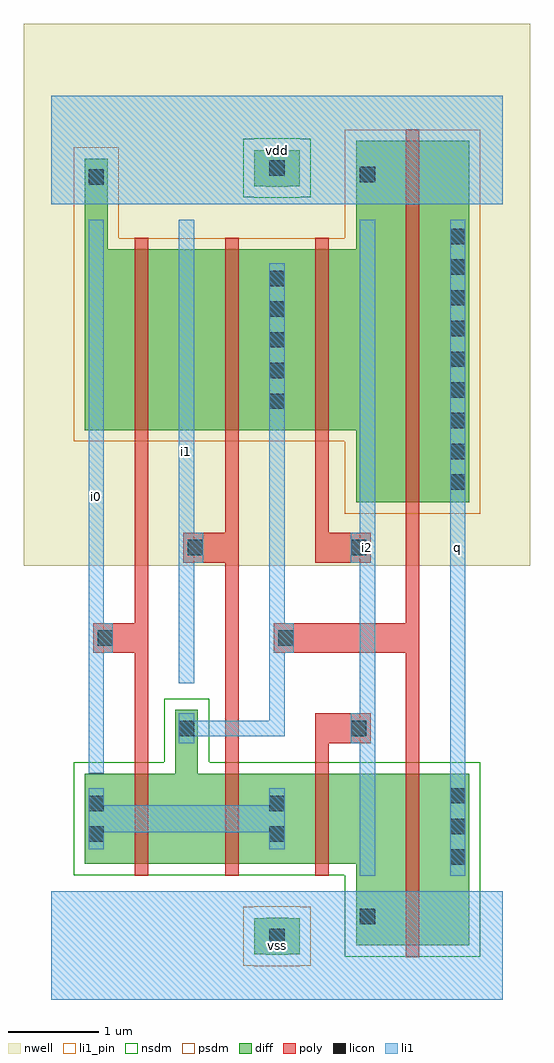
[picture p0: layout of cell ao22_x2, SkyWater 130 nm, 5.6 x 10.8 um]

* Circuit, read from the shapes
.subckt ao22_x2 i0 i1 i2 q vdd vss
XM1 n1 i0 n2 VSUBS sky130_fd_pr__nfet_01v8 w=1 l=0.15
XM2 n2 i1 n1 VSUBS sky130_fd_pr__nfet_01v8 w=1 l=0.15
XM3 vss i2 n2 VSUBS sky130_fd_pr__nfet_01v8 w=1 l=0.15
XM4 q n1 vss VSUBS sky130_fd_pr__nfet_01v8 w=1.9 l=0.15
XM5 n3 i0 vdd n4 sky130_fd_pr__pfet_01v8 w=2 l=0.15
XM6 n1 i1 n3 n4 sky130_fd_pr__pfet_01v8 w=2 l=0.15
XM7 vdd i2 n1 n4 sky130_fd_pr__pfet_01v8 w=2 l=0.15
XM8 q n1 vdd n4 sky130_fd_pr__pfet_01v8 w=4 l=0.15
.ends

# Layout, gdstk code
import gdstk
lib = gdstk.Library(unit=1e-6, precision=1e-09)
def R(c, l, rs):  # rectangles x0, y0, x1, y1
    for r in rs: c.add(gdstk.rectangle(r[:2], r[2:], *l))
def A(c, l, x, y, w, h, nx, ny, dx, dy):  # array of equal rectangles
    R(c, l, [(x+i*dx, y+j*dy, x+i*dx+w, y+j*dy+h) for i in range(nx) for j in range(ny)])
def P(c, l, *ps):  # polygons
    for p in ps: c.add(gdstk.Polygon(p, *l))
nwell = (64, 20)
diff = (65, 20)
poly = (66, 20)
licon = (66, 44)
li1_pin = (67, 16)
li1 = (67, 20)
nsdm = (93, 44)
psdm = (94, 20)

ao22_x2 = lib.new_cell('ao22_x2')
R(ao22_x2, nwell, [(-0.3,4.8,5.3,10.8)])
P(ao22_x2, diff, [(2.375,0.495),(2.375,0.5),(2.25,0.5),(2.25,0.9),(2.375,0.9),(2.375,0.905),(2.625,0.905),(2.625,0.9),(2.75,0.9),(2.75,0.5),(2.625,0.5),(2.625,0.495)],
  [(3.375,0.6),(3.375,1.5),(0.375,1.5),(0.375,2.5),(1.375,2.5),(1.375,3.205),(1.625,3.205),(1.625,2.5),(4.625,2.5),(4.625,0.6)],
  [(2.375,8.995),(2.375,9),(2.25,9),(2.25,9.4),(2.375,9.4),(2.375,9.405),(2.625,9.405),(2.625,9.4),(2.75,9.4),(2.75,9),(2.625,9),(2.625,8.995)],
  [(3.375,5.5),(3.375,6.3),(0.375,6.3),(0.375,9.305),(0.625,9.305),(0.625,8.3),(3.375,8.3),(3.375,9.5),(4.625,9.5),(4.625,5.5)])
P(ao22_x2, poly, [(2.925,1.37),(2.925,3.165),(3.535,3.165),(3.535,2.835),(3.075,2.835),(3.075,1.37)],
  [(0.925,1.37),(0.925,3.835),(0.465,3.835),(0.465,4.165),(0.925,4.165),(0.925,8.43),(1.075,8.43),(1.075,1.37)],
  [(1.925,1.37),(1.925,4.835),(1.465,4.835),(1.465,5.165),(1.925,5.165),(1.925,8.43),(2.075,8.43),(2.075,1.37)],
  [(2.925,4.835),(2.925,8.43),(3.075,8.43),(3.075,5.165),(3.535,5.165),(3.535,4.835)],
  [(3.925,0.47),(3.925,3.835),(2.465,3.835),(2.465,4.165),(3.925,4.165),(3.925,9.63),(4.075,9.63),(4.075,0.47)])
A(ao22_x2, licon, 4.415, 1.49, 0.17, 0.17, 1, 3, 0, 0.34)
A(ao22_x2, licon, 4.415, 5.64, 0.17, 0.17, 1, 9, 0, 0.34)
A(ao22_x2, licon, 2.415, 6.535, 0.17, 0.17, 1, 5, 0, 0.34)
R(ao22_x2, licon, [(2.415,0.615,2.585,0.785), (3.415,0.835,3.585,1.005), (0.415,1.745,0.585,1.915), (2.415,1.745,2.585,1.915), (0.415,2.085,0.585,2.255), (2.415,2.085,2.585,2.255), (1.415,2.915,1.585,3.085), (3.315,2.915,3.485,3.085), (0.515,3.915,0.685,4.085), (2.515,3.915,2.685,4.085), (1.515,4.915,1.685,5.085), (3.315,4.915,3.485,5.085), (0.415,9.015,0.585,9.185), (3.415,9.045,3.585,9.215), (2.415,9.115,2.585,9.285)])
R(ao22_x2, li1_pin, [(0,0,5,1.2), (3.415,1.37,3.585,8.63), (4.415,1.37,4.585,8.63), (0.415,2.505,0.585,8.63), (1.415,3.5,1.585,8.63), (0,8.8,5,10)])
R(ao22_x2, li1, [(0,0,5,1.2), (4.415,1.37,4.585,8.63), (0,8.8,5,10)])
P(ao22_x2, li1, [(0.415,1.665),(0.415,2.335),(0.585,2.335),(0.585,2.15),(2.415,2.15),(2.415,2.335),(2.585,2.335),(2.585,1.665),(2.415,1.665),(2.415,1.85),(0.585,1.85),(0.585,1.665)],
  [(1.415,2.835),(1.415,3.165),(1.585,3.165),(1.585,3.085),(2.415,3.085),(2.415,8.145),(2.585,8.145),(2.585,4.165),(2.685,4.165),(2.685,3.835),(2.585,3.835),(2.585,2.915),(1.585,2.915),(1.585,2.835)],
  [(0.415,2.505),(0.415,8.63),(0.585,8.63),(0.585,4.165),(0.685,4.165),(0.685,3.835),(0.585,3.835),(0.585,2.505)],
  [(1.415,3.5),(1.415,8.63),(1.585,8.63),(1.585,5.165),(1.685,5.165),(1.685,4.835),(1.585,4.835),(1.585,3.5)],
  [(3.415,1.37),(3.415,2.835),(3.315,2.835),(3.315,3.165),(3.415,3.165),(3.415,4.835),(3.315,4.835),(3.315,5.165),(3.415,5.165),(3.415,8.63),(3.585,8.63),(3.585,1.37)])
P(ao22_x2, nsdm, [(3.25,0.475),(3.25,1.375),(0.25,1.375),(0.25,2.625),(1.25,2.625),(1.25,3.33),(1.75,3.33),(1.75,2.625),(4.75,2.625),(4.75,0.475)],
  [(2.25,8.87),(2.25,8.875),(2.125,8.875),(2.125,9.525),(2.25,9.525),(2.25,9.53),(2.75,9.53),(2.75,9.525),(2.875,9.525),(2.875,8.875),(2.75,8.875),(2.75,8.87)])
P(ao22_x2, psdm, [(2.25,0.37),(2.25,0.375),(2.125,0.375),(2.125,1.025),(2.25,1.025),(2.25,1.03),(2.75,1.03),(2.75,1.025),(2.875,1.025),(2.875,0.375),(2.75,0.375),(2.75,0.37)],
  [(3.25,5.375),(3.25,6.175),(0.25,6.175),(0.25,9.43),(0.75,9.43),(0.75,8.425),(3.25,8.425),(3.25,9.625),(4.75,9.625),(4.75,5.375)])
ao22_x2.add(gdstk.Label('vdd', (2.5,9.4), layer=67, texttype=16))
ao22_x2.add(gdstk.Label('q', (4.5,5), layer=67, texttype=16))
ao22_x2.add(gdstk.Label('vss', (2.5,0.6), layer=67, texttype=16))
ao22_x2.add(gdstk.Label('i0', (0.5,5.568), layer=67, texttype=16))
ao22_x2.add(gdstk.Label('i1', (1.5,6.065), layer=67, texttype=16))
ao22_x2.add(gdstk.Label('i2', (3.5,5), layer=67, texttype=16))
ao22_x2.add(gdstk.Label('vdd', (2.5,9.4), layer=67, texttype=16))
ao22_x2.add(gdstk.Label('q', (4.5,5), layer=67, texttype=16))
ao22_x2.add(gdstk.Label('vss', (2.5,0.6), layer=67, texttype=16))
ao22_x2.add(gdstk.Label('i0', (0.5,5.568), layer=67, texttype=16))
ao22_x2.add(gdstk.Label('i1', (1.5,6.065), layer=67, texttype=16))
ao22_x2.add(gdstk.Label('i2', (3.5,5), layer=67, texttype=16))

lib.write_gds('ao22_x2.gds')
